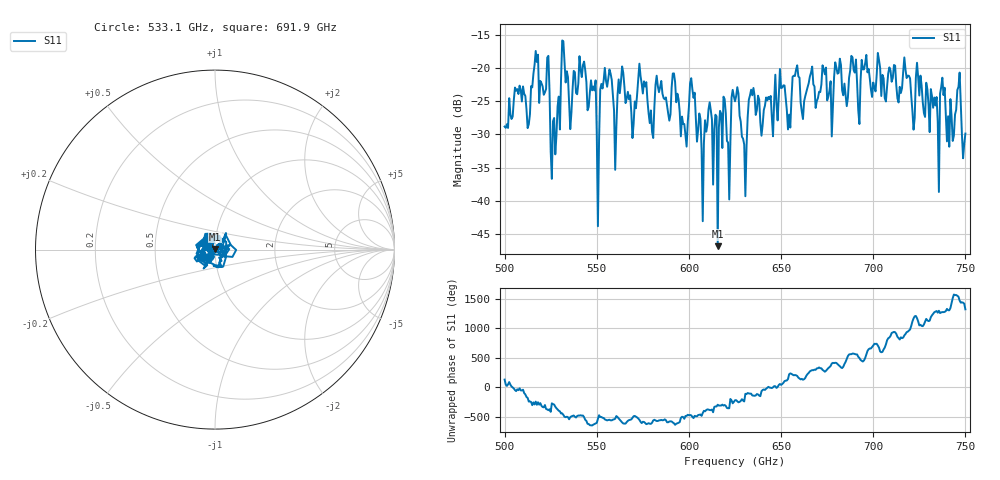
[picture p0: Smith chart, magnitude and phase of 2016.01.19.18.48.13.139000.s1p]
!Created with skrf (http://scikit-rf.org).
# GHz S RI R 50.0
!freq ReS11 ImS11
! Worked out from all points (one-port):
!   401 points, 500 GHz to 750 GHz, reference 50 ohm
!   lowest |S11| = -46.8 dB at 615.6 GHz (marker M1), VSWR 1.01, Z = 50.2 + j0.406 ohm
!   |S11| at or under -10 dB: start of sweep to end of sweep
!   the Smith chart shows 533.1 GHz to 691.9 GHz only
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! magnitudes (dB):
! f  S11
! 500 GHz  -28.8
! 513.1 GHz  -28.5
! 516.9 GHz  -17.4
! 523.1 GHz  -18.4
! 526.2 GHz  -28.0
! 531.2 GHz  -15.8
! 548.1 GHz  -22.8
! 550 GHz  -29.9
! 553.1 GHz  -23.1
! 560 GHz  -35.3
! 562.5 GHz  -23.8
! 570 GHz  -28.4
! 574.4 GHz  -22.3
! 579.4 GHz  -26.4
! 583.1 GHz  -22.7
! 593.8 GHz  -23.9
! 615.6 GHz  -46.8
! 618.1 GHz  -32.0
! 621.9 GHz  -39.8
! 625 GHz  -25.0
! 630 GHz  -31.5
! 633.8 GHz  -23.3
! 656.2 GHz  -21.3
! 687.5 GHz  -20.3
! 718.8 GHz  -21.1
! 734.4 GHz  -24.4
! 746.2 GHz  -22.8
! 750 GHz  -29.9
